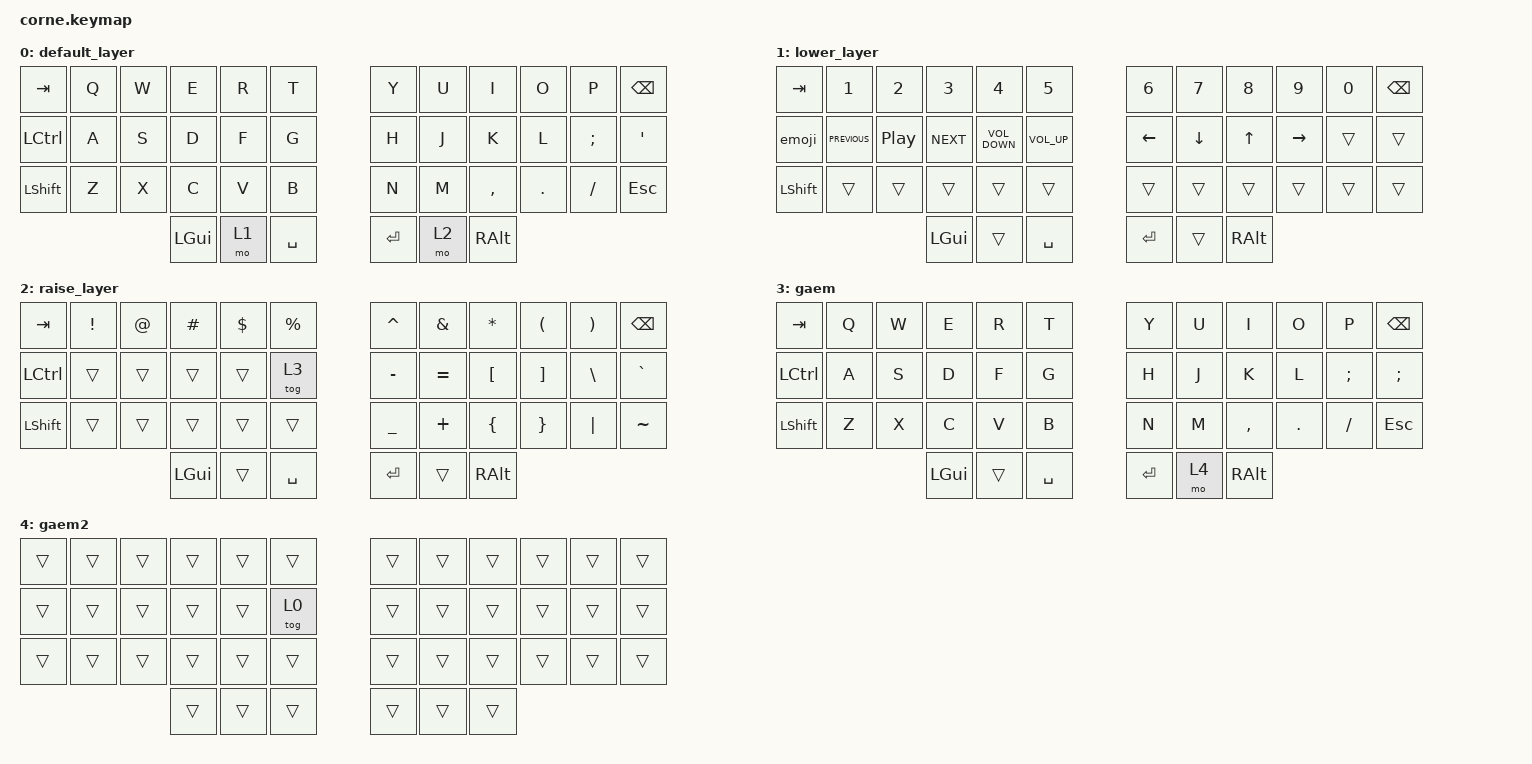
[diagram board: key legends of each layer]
/*
 * Copyright (c) 2020 The ZMK Contributors
 *
 * SPDX-License-Identifier: MIT
 */

#include <behaviors.dtsi>
#include <dt-bindings/zmk/keys.h>

/ {
    macros {
        emoji: emoji {
            compatible = "zmk,behavior-macro";
            #binding-cells = <0>;
            bindings = <&kp LG(LS(LA(LC(K))))>;
            label = "EMOJI";
        };
    };

    keymap {
        compatible = "zmk,keymap";

        default_layer {
            // -----------------------------------------------------------------------------------------
            // |  TAB |  Q  |  W  |  E  |  R  |  T  |   |  Y  |  U   |  I  |  O  |  P  | BSPC |
            // | CTRL |  A  |  S  |  D  |  F  |  G  |   |  H  |  J   |  K  |  L  |  ;  |  '   |
            // | SHFT |  Z  |  X  |  C  |  V  |  B  |   |  N  |  M   |  ,  |  .  |  /  | ESC  |
            //                    | GUI | LWR | SPC |   | ENT | RSE  | ALT |

            bindings = <
&kp TAB    &kp Q  &kp W  &kp E     &kp R  &kp T        &kp Y    &kp U  &kp I      &kp O    &kp P     &kp BSPC
&kp LCTRL  &kp A  &kp S  &kp D     &kp F  &kp G        &kp H    &kp J  &kp K      &kp L    &kp SEMI  &kp SQT
&kp LSHFT  &kp Z  &kp X  &kp C     &kp V  &kp B        &kp N    &kp M  &kp COMMA  &kp DOT  &kp FSLH  &kp ESC
                         &kp LGUI  &mo 1  &kp SPACE    &kp RET  &mo 2  &kp RALT
            >;
        };

        lower_layer {
            // -----------------------------------------------------------------------------------------
            // |  TAB |  1  |  2  |  3  |  4  |  5  |   |  6  |  7  |  8  |  9  |  0  | BSPC |
            // | BTCLR| BT1 | BT2 | BT3 | BT4 | BT5 |   | LFT | DWN |  UP | RGT |     |      |
            // | SHFT |     |     |     |     |     |   |     |     |     |     |     |      |
            //                    | GUI |     | SPC |   | ENT |     | ALT |

            bindings = <
&kp TAB    &kp N1          &kp N2            &kp N3      &kp N4             &kp N5             &kp N6    &kp N7    &kp N8    &kp N9     &kp N0  &kp BSPC
&emoji     &kp C_PREVIOUS  &kp C_PLAY_PAUSE  &kp C_NEXT  &kp C_VOLUME_DOWN  &kp C_VOLUME_UP    &kp LEFT  &kp DOWN  &kp UP    &kp RIGHT  &trans  &trans
&kp LSHFT  &trans          &trans            &trans      &trans             &trans             &trans    &trans    &trans    &trans     &trans  &trans
                                             &kp LGUI    &trans             &kp SPACE          &kp RET   &trans    &kp RALT
            >;
        };

        raise_layer {
            // -----------------------------------------------------------------------------------------
            // |  TAB |  !  |  @  |  #  |  $  |  %  |   |  ^  |  &  |  *  |  (  |  )  | BSPC |
            // | CTRL |     |     |     |     |     |   |  -  |  =  |  [  |  ]  |  \  |  `   |
            // | SHFT |     |     |     |     |     |   |  _  |  +  |  {  |  }  | "|" |  ~   |
            //                    | GUI |     | SPC |   | ENT |     | ALT |

            bindings = <
&kp TAB    &kp EXCL  &kp AT  &kp HASH  &kp DLLR  &kp PRCNT    &kp CARET  &kp AMPS   &kp ASTRK  &kp LPAR  &kp RPAR  &kp BSPC
&kp LCTRL  &trans    &trans  &trans    &trans    &tog 3       &kp MINUS  &kp EQUAL  &kp LBKT   &kp RBKT  &kp BSLH  &kp GRAVE
&kp LSHFT  &trans    &trans  &trans    &trans    &trans       &kp UNDER  &kp PLUS   &kp LBRC   &kp RBRC  &kp PIPE  &kp TILDE
                             &kp LGUI  &trans    &kp SPACE    &kp RET    &trans     &kp RALT
            >;
        };

        gaem {
            bindings = <
&kp TAB    &kp Q  &kp W  &kp E     &kp R   &kp T        &kp Y    &kp U  &kp I      &kp O    &kp P     &kp BSPC
&kp LCTRL  &kp A  &kp S  &kp D     &kp F   &kp G        &kp H    &kp J  &kp K      &kp L    &kp SEMI  &kp SEMI
&kp LSHFT  &kp Z  &kp X  &kp C     &kp V   &kp B        &kp N    &kp M  &kp COMMA  &kp DOT  &kp FSLH  &kp ESC
                         &kp LGUI  &trans  &kp SPACE    &kp RET  &mo 4  &kp RALT
            >;
        };

        gaem2 {
            bindings = <
&trans  &trans  &trans  &trans  &trans  &trans    &trans  &trans  &trans  &trans  &trans  &trans
&trans  &trans  &trans  &trans  &trans  &tog 0    &trans  &trans  &trans  &trans  &trans  &trans
&trans  &trans  &trans  &trans  &trans  &trans    &trans  &trans  &trans  &trans  &trans  &trans
                        &trans  &trans  &trans    &trans  &trans  &trans
            >;
        };
    };
};
